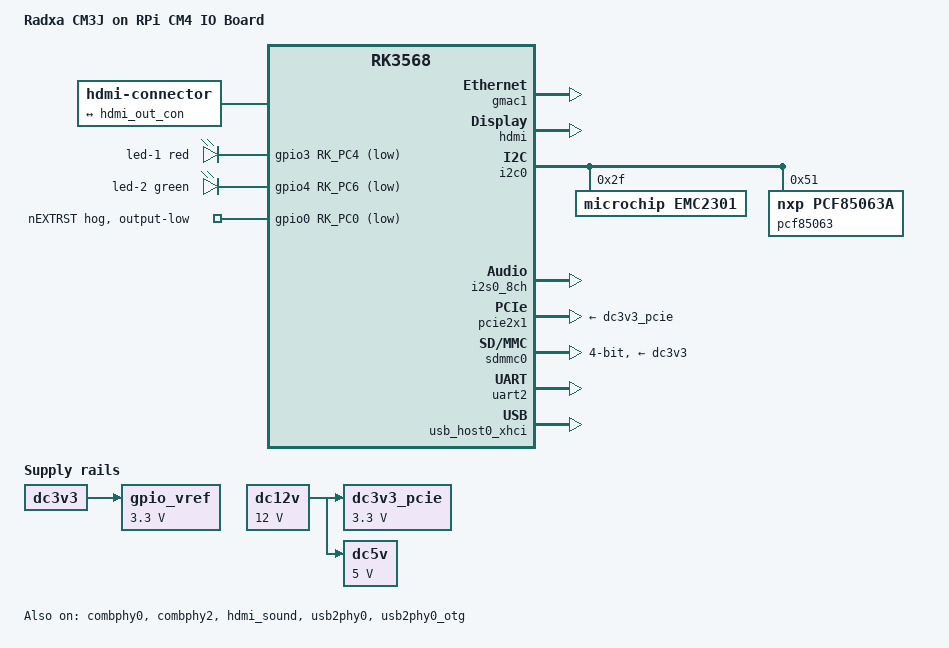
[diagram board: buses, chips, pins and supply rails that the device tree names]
// SPDX-License-Identifier: (GPL-2.0+ OR MIT)
/*
 * Copyright (c) 2025 Radxa Computer (Shenzhen) Co., Ltd.
 */

/dts-v1/;

#include <dt-bindings/leds/common.h>
#include <dt-bindings/gpio/gpio.h>
#include <dt-bindings/pinctrl/rockchip.h>
#include "rk3568-radxa-cm3j.dtsi"

/ {
	model = "Radxa CM3J on RPi CM4 IO Board";
	compatible = "radxa,cm3j-rpi-cm4", "radxa,cm3j", "rockchip,rk3568";

	aliases {
		ethernet0 = &gmac1;
		mmc1 = &sdmmc0;
		rtc0 = &pcf85063;
	};

	chosen {
		stdout-path = "serial2:1500000n8";
	};

	hdmi-con {
		compatible = "hdmi-connector";
		type = "a";

		port {
			hdmi_con_in: endpoint {
				remote-endpoint = <&hdmi_out_con>;
			};
		};
	};

	leds-1 {
		compatible = "gpio-leds";

		led-1 {
			color = <LED_COLOR_ID_RED>;
			default-state = "on";
			function = LED_FUNCTION_POWER;
			gpios = <&gpio3 RK_PC4 GPIO_ACTIVE_LOW>;
			pinctrl-names = "default";
			pinctrl-0 = <&npwr_led>;
		};

		led-2 {
			color = <LED_COLOR_ID_GREEN>;
			default-state = "on";
			function = LED_FUNCTION_STATUS;
			gpios = <&gpio4 RK_PC6 GPIO_ACTIVE_LOW>;
			linux,default-trigger = "heartbeat";
			pinctrl-names = "default";
			pinctrl-0 = <&pi_nled_activity>;
		};
	};

	dc12v: regulator-12v0 {
		compatible = "regulator-fixed";
		regulator-name = "dc12v";
		regulator-always-on;
		regulator-boot-on;
		regulator-min-microvolt = <12000000>;
		regulator-max-microvolt = <12000000>;
	};

	dc3v3_pcie: regulator-3v3-2 {
		compatible = "regulator-fixed";
		regulator-name = "dc3v3_pcie";
		regulator-always-on;
		regulator-boot-on;
		regulator-min-microvolt = <3300000>;
		regulator-max-microvolt = <3300000>;
		vin-supply = <&dc12v>;
	};

	gpio_vref: regulator-3v3-3 {
		compatible = "regulator-fixed";
		regulator-name = "gpio_vref";
		regulator-always-on;
		regulator-boot-on;
		regulator-min-microvolt = <3300000>;
		regulator-max-microvolt = <3300000>;
		vin-supply = <&dc3v3>;
	};

	dc5v: regulator-5v0 {
		compatible = "regulator-fixed";
		regulator-name = "dc5v";
		regulator-always-on;
		regulator-boot-on;
		regulator-min-microvolt = <5000000>;
		regulator-max-microvolt = <5000000>;
		vin-supply = <&dc12v>;
	};
};

&combphy0 {
	status = "okay";
};

&combphy2 {
	status = "okay";
};

&gmac1 {
	status = "okay";
};

&gpio0 {
	nextrst-hog {
		gpio-hog;
		/*
		 * GPIO_ACTIVE_LOW + output-low here means that the pin is set
		 * to high, because output-low decides the value pre-inversion.
		 */
		gpios = <RK_PC0 GPIO_ACTIVE_LOW>;
		line-name = "nEXTRST";
		output-low;
	};
};

&hdmi {
	status = "okay";
};

&hdmi_sound {
	status = "okay";
};

&i2c0 {
	emc2301: fan-controller@2f {
		compatible = "microchip,emc2301", "microchip,emc2305";
		reg = <0x2f>;
		#address-cells = <1>;
		#size-cells = <0>;
		#pwm-cells = <3>;

		fan@0 {
			reg = <0x0>;
			pwms = <&emc2301 26000 0 1>;
			#cooling-cells = <2>;
		};
	};

	pcf85063: rtc@51 {
		compatible = "nxp,pcf85063a";
		reg = <0x51>;
		wakeup-source;
	};
};

&i2s0_8ch {
	status = "okay";
};

&pinctrl {
	leds {
		npwr_led: npwr-led {
			rockchip,pins = <3 RK_PC4 RK_FUNC_GPIO &pcfg_pull_none>;
		};

		pi_nled_activity: pi-nled-activity {
			rockchip,pins = <4 RK_PC6 RK_FUNC_GPIO &pcfg_pull_none>;
		};
	};
};

&pcie2x1 {
	vpcie3v3-supply = <&dc3v3_pcie>;
	status = "okay";
};

&sdmmc0 {
	bus-width = <4>;
	cap-sd-highspeed;
	broken-cd;
	disable-wp;
	no-mmc;
	no-sdio;
	pinctrl-names = "default";
	pinctrl-0 = <&sdmmc0_bus4 &sdmmc0_clk &sdmmc0_cmd>;
	vmmc-supply = <&dc3v3>;
	status = "okay";
};

&uart2 {
	status = "okay";
};

&usb2phy0 {
	status = "okay";
};

&usb2phy0_otg {
	status = "okay";
};

&usb_host0_xhci {
	status = "okay";
};
